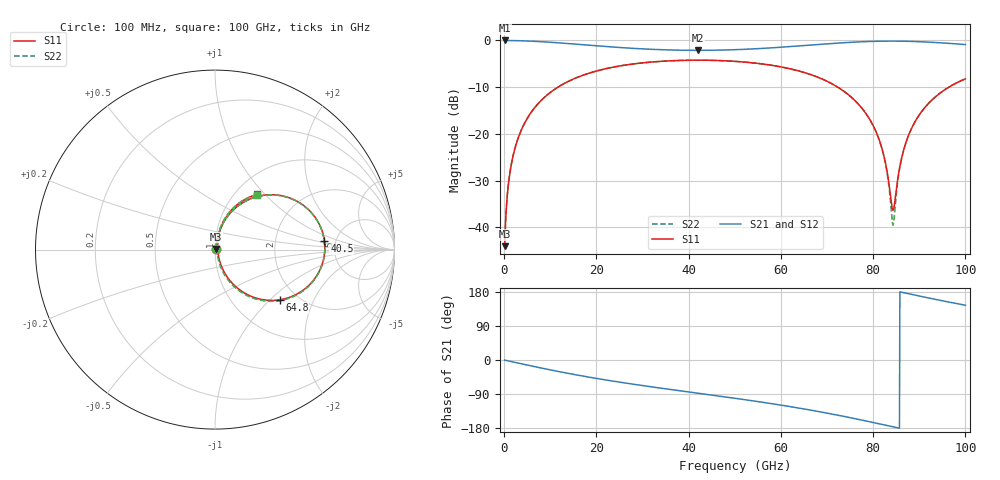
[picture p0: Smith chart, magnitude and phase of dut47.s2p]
! Touchstone file exported from HFSS 2026.1.0
!  File:  C:/ffzhzh/LocalFiles/Ansys_Project_Files/temp_train_RDL_47_1783498241_9504.aedt
!  Generated:  04:12:29 PM Jul  8, 2026
!  Design:  RDL
!  Project:  temp_train_RDL_47_1783498241_9504
! Variables:
!  h_bsmrdl = 2um
!  h_ox = 20um
!  h_rdl = 5um
!  h_sub = 80um
!  h_tmrdl = 2.08um
!  h_tsv = 80um
!  h_via = 3um
!  l_bsmrdl = 300um
!  l_sub = 1086.14um
!  l_tmrdl = 686.14um
!  m_sub = 200um
!  pitch = 54.49um
!  r_tsv = 6um
!  s_tmrdl = 10um
!  w_bsmrdl = 18um
!  w_sub = 500um
!  w_tmrdl = 22.95um
!  x_tsv_center1 = 697.615um
!  x_tsv_center2 = 1015.615um
!  x_tsv_center3 = 1724.705um
!  x_tsv_center4 = 2042.705um
!  x_tsv_center5 = 2751.795um
!  x_tsv_center6 = 3069.795um
# GHz S MA R 50.000000
! Terminal data exported
! Port[1] = TM_RDL1_1_T1
! Port[2] = TM_RDL1_1_T2
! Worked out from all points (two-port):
!   1000 points, 100 MHz to 100 GHz, reference 50 ohm
!   highest |S21| = -0.05 dB at 100 MHz (marker M1); lowest = -2.2 dB at 42 GHz (marker M2)
!   |S21| within 3 dB of the highest: start of sweep to end of sweep
!   lowest |S11| = -44.0 dB at 100 MHz (marker M3), VSWR 1.01, Z = 50.5 + j0.325 ohm
!   |S11| at or under -10 dB: start of sweep to 11.71 GHz; 72.27 GHz to 96.46 GHz (24.19 GHz wide, 28.7 % of centre)
!   |S22| runs from -44.0 to -4.3 dB; largest |S21 - S12| = 1.7e-14
!   S11 on the Smith chart (normalised r, x): 100 MHz: 1.01, +0.01; 40.5 GHz: 4.05, +0.60; 64.8 GHz: 1.62, -1.15; 100 GHz: 1.25, +0.90
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0.1  0.006287 30.8  0.9946 -0.3  0.9946 -0.3  0.006287 30.8
! Gamma 0 0 0 0
! Port Impedance 50 0 50 0
0.9  0.02828 74.2  0.9931 -2.5  0.9931 -2.5  0.02828 74.2
1.5  0.04558 77.2  0.992 -4.1  0.992 -4.1  0.04558 77.2
4.2  0.1232 75.2  0.9848 -11.2  0.9848 -11.2  0.1232 75.2
9.2  0.2569 64.0  0.9576 -24.1  0.9576 -24.1  0.2569 63.9
16.8  0.4176 46.8  0.898 -41.8  0.898 -41.8  0.4176 46.7
33.4  0.5922 15.9  0.7943 -73.4  0.7943 -73.4  0.5923 15.6
40.5  0.6115 4.3  0.78 -85.2  0.78 -85.2  0.6115 3.9
42  0.6121 1.9  0.7795 -87.6  0.7795 -87.6  0.6121 1.5
50.1  0.5945 -11.2  0.7926 -101.1  0.7926 -101.1  0.5945 -11.8
64.8  0.4557 -37.9  0.8759 -128.7  0.8759 -128.7  0.4557 -38.8
66.7  0.4252 -41.7  0.8903 -132.8  0.8903 -132.8  0.4251 -42.7
73.6  0.2862 -56.4  0.9409 -148.7  0.9409 -148.7  0.286 -57.8
78.5  0.163 -66.2  0.9675 -161.0  0.9675 -161.0  0.1627 -68.4
81.6  0.07833 -68.4  0.9767 -169.1  0.9767 -169.1  0.07761 -72.3
83.4  0.02998 -53.8  0.9788 -173.9  0.9788 -173.9  0.02794 -62.7
84  0.01755 -25.7  0.9789 -175.5  0.9789 -175.5  0.01372 -36.2
84.4  0.01544 13.0  0.9788 -176.5  0.9788 -176.5  0.01085 16.5
86.2  0.05586 72.6  0.9769 178.7  0.9769 178.7  0.05474 76.8
88.8  0.127 74.9  0.9698 171.9  0.9698 171.9  0.1266 76.3
93.4  0.2459 66.7  0.9466 160.2  0.9466 160.2  0.2456 67.1
100  0.3869 52.6  0.8994 144.6  0.8994 144.6  0.3867 52.5
